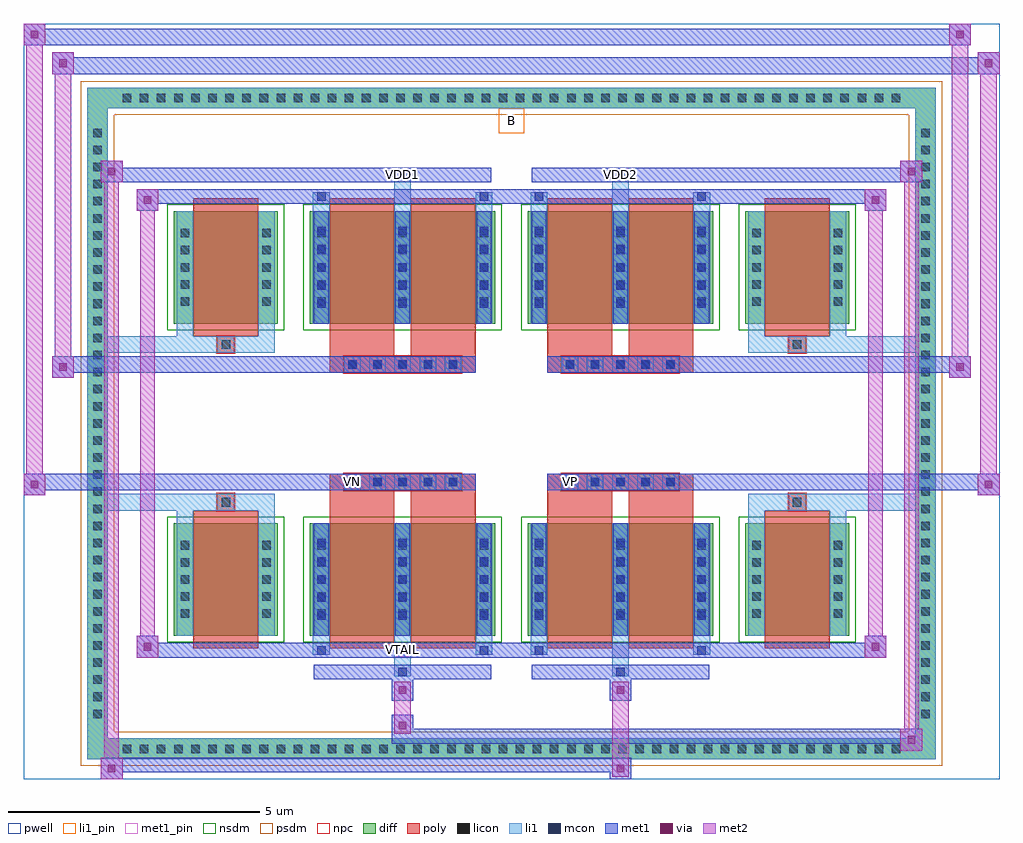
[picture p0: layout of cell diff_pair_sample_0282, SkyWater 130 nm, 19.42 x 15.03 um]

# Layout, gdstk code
import gdstk
lib = gdstk.Library(unit=1e-6, precision=5e-09)
def R(c, l, rs):  # rectangles x0, y0, x1, y1
    for r in rs: c.add(gdstk.rectangle(r[:2], r[2:], *l))
def A(c, l, x, y, w, h, nx, ny, dx, dy):  # array of equal rectangles
    R(c, l, [(x+i*dx, y+j*dy, x+i*dx+w, y+j*dy+h) for i in range(nx) for j in range(ny)])
def P(c, l, *ps):  # polygons
    for p in ps: c.add(gdstk.Polygon(p, *l))
pwell = (64, 44)
diff = (65, 20)
poly = (66, 20)
licon = (66, 44)
li1_pin = (67, 16)
li1 = (67, 20)
mcon = (67, 44)
met1_pin = (68, 16)
met1 = (68, 20)
via = (68, 44)
met2 = (69, 20)
nsdm = (93, 44)
psdm = (94, 20)
npc = (95, 20)

diff_pair_sample_0282 = lib.new_cell('diff_pair_sample_0282')
R(diff_pair_sample_0282, pwell, [(-9.71,-7.08,9.71,7.95), (-7.03,-5.27,-0.01,-0.805), (0.01,-5.27,7.03,-0.805), (-7.03,0.805,-0.01,5.27), (0.01,0.805,7.03,5.27)])
A(diff_pair_sample_0282, diff, -7.855, -6.68, 0.41, 0.41, 46, 2, 0.34, 12.95)
A(diff_pair_sample_0282, diff, -8.44, -5.985, 0.41, 0.41, 1, 35, 0, 0.34)
A(diff_pair_sample_0282, diff, 8.03, -5.985, 0.41, 0.41, 1, 35, 0, 0.34)
R(diff_pair_sample_0282, diff, [(-7.855,-6.68,7.855,-6.27), (-8.44,-5.985,-8.03,5.985), (8.03,-5.985,8.44,5.985), (-6.72,-4.225,-4.65,-1.985), (-4.01,-4.225,-0.32,-1.985), (0.32,-4.225,4.01,-1.985), (4.65,-4.225,6.72,-1.985), (-6.72,1.985,-4.65,4.225), (-4.01,1.985,-0.32,4.225), (0.32,1.985,4.01,4.225), (4.65,1.985,6.72,4.225), (-7.855,6.27,7.855,6.68)])
P(diff_pair_sample_0282, diff, [(8.44,6.68),(-8.44,6.68),(-8.44,-6.27),(-8.03,-6.27),(-8.03,6.27),(8.03,6.27),(8.03,-6.27),(-8.03,-6.27),(-8.44,-6.27),(-8.44,-6.68),(8.44,-6.68)])
A(diff_pair_sample_0282, poly, -3.33, -1.335, 0.33, 0.33, 5, 2, 0.5, 2.34)
A(diff_pair_sample_0282, poly, 1, -1.335, 0.33, 0.33, 5, 2, 0.5, 2.34)
R(diff_pair_sample_0282, poly, [(-6.33,-4.475,-5.04,-1.735), (-3.62,-4.475,-2.33,-1.735), (-2,-4.475,-0.71,-1.735), (0.71,-4.475,2,-1.735), (2.33,-4.475,3.62,-1.735), (5.04,-4.475,6.33,-1.735), (-5.85,-1.735,-5.52,-1.405), (-5.85,-1.735,-5.52,-1.405), (-3.62,-1.735,-2.33,-1.335), (-2,-1.735,-0.71,-1.335), (0.71,-1.735,2,-1.335), (2.33,-1.735,3.62,-1.335), (5.52,-1.735,5.85,-1.405), (5.52,-1.735,5.85,-1.405), (-3.62,-1.335,-0.71,-1.005), (0.71,-1.335,3.62,-1.005), (-3.62,1.005,-0.71,1.335), (0.71,1.005,3.62,1.335), (-3.62,1.335,-2.33,1.735), (-2,1.335,-0.71,1.735), (0.71,1.335,2,1.735), (2.33,1.335,3.62,1.735), (-5.85,1.405,-5.52,1.735), (-5.85,1.405,-5.52,1.735), (5.52,1.405,5.85,1.735), (5.52,1.405,5.85,1.735), (-6.33,1.735,-5.04,4.475), (-3.62,1.735,-2.33,4.475), (-2,1.735,-0.71,4.475), (0.71,1.735,2,4.475), (2.33,1.735,3.62,4.475), (5.04,1.735,6.33,4.475)])
A(diff_pair_sample_0282, licon, -7.735, -6.56, 0.17, 0.17, 46, 2, 0.34, 12.95)
A(diff_pair_sample_0282, licon, -8.32, -5.865, 0.17, 0.17, 1, 35, 0, 0.34)
A(diff_pair_sample_0282, licon, 8.15, -5.865, 0.17, 0.17, 1, 35, 0, 0.34)
A(diff_pair_sample_0282, licon, -6.58, -3.87, 0.17, 0.17, 1, 5, 0, 0.34)
A(diff_pair_sample_0282, licon, -4.96, -3.87, 0.17, 0.17, 1, 5, 0, 0.34)
A(diff_pair_sample_0282, licon, -3.87, -3.87, 0.17, 0.17, 3, 5, 1.62, 0.34)
A(diff_pair_sample_0282, licon, 0.46, -3.87, 0.17, 0.17, 3, 5, 1.62, 0.34)
A(diff_pair_sample_0282, licon, 4.79, -3.87, 0.17, 0.17, 1, 5, 0, 0.34)
A(diff_pair_sample_0282, licon, 6.41, -3.87, 0.17, 0.17, 1, 5, 0, 0.34)
A(diff_pair_sample_0282, licon, -3.25, -1.255, 0.17, 0.17, 5, 2, 0.5, 2.34)
A(diff_pair_sample_0282, licon, 1.08, -1.255, 0.17, 0.17, 5, 2, 0.5, 2.34)
A(diff_pair_sample_0282, licon, -6.58, 2.34, 0.17, 0.17, 1, 5, 0, 0.34)
A(diff_pair_sample_0282, licon, -4.96, 2.34, 0.17, 0.17, 1, 5, 0, 0.34)
A(diff_pair_sample_0282, licon, -3.87, 2.34, 0.17, 0.17, 3, 5, 1.62, 0.34)
A(diff_pair_sample_0282, licon, 0.46, 2.34, 0.17, 0.17, 3, 5, 1.62, 0.34)
A(diff_pair_sample_0282, licon, 4.79, 2.34, 0.17, 0.17, 1, 5, 0, 0.34)
A(diff_pair_sample_0282, licon, 6.41, 2.34, 0.17, 0.17, 1, 5, 0, 0.34)
R(diff_pair_sample_0282, licon, [(-5.77,-1.655,-5.6,-1.485), (5.6,-1.655,5.77,-1.485), (-5.77,1.485,-5.6,1.655), (5.6,1.485,5.77,1.655)])
R(diff_pair_sample_0282, li1_pin, [(-0.25,5.77,0.25,6.27)])
A(diff_pair_sample_0282, li1, -7.815, -6.64, 0.33, 0.33, 46, 2, 0.34, 12.95)
A(diff_pair_sample_0282, li1, -8.4, -5.945, 0.33, 0.33, 1, 35, 0, 0.34)
A(diff_pair_sample_0282, li1, 8.07, -5.945, 0.33, 0.33, 1, 35, 0, 0.34)
A(diff_pair_sample_0282, li1, -3.95, -4.225, 0.33, 2.24, 3, 2, 1.62, 6.21)
A(diff_pair_sample_0282, li1, 0.38, -4.225, 0.33, 2.24, 3, 2, 1.62, 6.21)
A(diff_pair_sample_0282, li1, -6.66, -3.95, 0.33, 0.33, 1, 5, 0, 0.34)
A(diff_pair_sample_0282, li1, -5.04, -3.95, 0.33, 0.33, 1, 5, 0, 0.34)
A(diff_pair_sample_0282, li1, -3.95, -3.95, 0.33, 0.33, 3, 5, 1.62, 0.34)
A(diff_pair_sample_0282, li1, 0.38, -3.95, 0.33, 0.33, 3, 5, 1.62, 0.34)
A(diff_pair_sample_0282, li1, 4.71, -3.95, 0.33, 0.33, 1, 5, 0, 0.34)
A(diff_pair_sample_0282, li1, 6.33, -3.95, 0.33, 0.33, 1, 5, 0, 0.34)
A(diff_pair_sample_0282, li1, -3.87, -3.91, 0.17, 0.17, 3, 5, 1.62, 0.36)
A(diff_pair_sample_0282, li1, -3.87, -3.91, 0.17, 1.61, 3, 2, 1.62, 6.21)
A(diff_pair_sample_0282, li1, 0.46, -3.91, 0.17, 0.17, 3, 5, 1.62, 0.36)
A(diff_pair_sample_0282, li1, 0.46, -3.91, 0.17, 1.61, 3, 2, 1.62, 6.21)
A(diff_pair_sample_0282, li1, -3.33, -1.335, 0.33, 0.33, 5, 2, 0.5, 2.34)
A(diff_pair_sample_0282, li1, 1, -1.335, 0.33, 0.33, 5, 2, 0.5, 2.34)
A(diff_pair_sample_0282, li1, -6.66, 2.26, 0.33, 0.33, 1, 5, 0, 0.34)
A(diff_pair_sample_0282, li1, -5.04, 2.26, 0.33, 0.33, 1, 5, 0, 0.34)
A(diff_pair_sample_0282, li1, -3.95, 2.26, 0.33, 0.33, 3, 5, 1.62, 0.34)
A(diff_pair_sample_0282, li1, 0.38, 2.26, 0.33, 0.33, 3, 5, 1.62, 0.34)
A(diff_pair_sample_0282, li1, 4.71, 2.26, 0.33, 0.33, 1, 5, 0, 0.34)
A(diff_pair_sample_0282, li1, 6.33, 2.26, 0.33, 0.33, 1, 5, 0, 0.34)
A(diff_pair_sample_0282, li1, -3.87, 2.3, 0.17, 0.17, 3, 5, 1.62, 0.36)
A(diff_pair_sample_0282, li1, 0.46, 2.3, 0.17, 0.17, 3, 5, 1.62, 0.36)
R(diff_pair_sample_0282, li1, [(-8.44,-6.68,-8.03,-6.27), (-8.44,-6.68,-8.03,-6.27), (-8.03,-6.68,8.03,-6.27), (8.03,-6.68,8.44,-6.27), (8.03,-6.68,8.44,-6.27), (-8.44,-6.27,-8.03,6.27), (8.03,-6.27,8.44,6.27), (-2.33,-5.03,-2,-4.225), (-2.25,-5.03,-2.08,-4.86), (2,-5.03,2.33,-4.225), (2.08,-5.03,2.25,-4.86), (-3.95,-4.6,-3.62,-4.225), (-3.87,-4.6,-3.7,-4.43), (-0.71,-4.6,-0.38,-4.225), (-0.63,-4.6,-0.46,-4.43), (0.38,-4.6,0.71,-4.225), (0.46,-4.6,0.63,-4.43), (3.62,-4.6,3.95,-4.225), (3.7,-4.6,3.87,-4.43), (-6.66,-4.225,-6.33,-1.985), (-5.04,-4.225,-4.71,-1.985), (4.71,-4.225,5.04,-1.985), (6.33,-4.225,6.66,-1.985), (-6.66,-1.985,-6.33,-1.405), (-5.04,-1.985,-4.71,-1.405), (4.71,-1.985,5.04,-1.405), (6.33,-1.985,6.66,-1.405), (-8.44,-1.735,-5.85,-1.405), (-6.66,-1.735,-5.85,-1.405), (-5.85,-1.735,-5.52,-1.405), (-5.52,-1.735,-4.71,-1.405), (4.71,-1.735,5.52,-1.405), (5.52,-1.735,5.85,-1.405), (5.52,-1.735,8.44,-1.405), (5.85,-1.735,6.66,-1.405), (-8.44,1.405,-5.85,1.735), (-6.66,1.405,-5.85,1.735), (-6.66,1.405,-6.33,1.985), (-5.85,1.405,-5.52,1.735), (-5.52,1.405,-4.71,1.735), (-5.04,1.405,-4.71,1.985), (4.71,1.405,5.52,1.735), (4.71,1.405,5.04,1.985), (5.52,1.405,5.85,1.735), (5.52,1.405,8.44,1.735), (5.85,1.405,6.66,1.735), (6.33,1.405,6.66,1.985), (-6.66,1.985,-6.33,4.225), (-5.04,1.985,-4.71,4.225), (4.71,1.985,5.04,4.225), (6.33,1.985,6.66,4.225), (-3.95,4.225,-3.62,4.6), (-2.33,4.225,-2,5.03), (-0.71,4.225,-0.38,4.6), (0.38,4.225,0.71,4.6), (2,4.225,2.33,5.03), (3.62,4.225,3.95,4.6), (-3.87,4.43,-3.7,4.6), (-0.63,4.43,-0.46,4.6), (0.46,4.43,0.63,4.6), (3.7,4.43,3.87,4.6), (-2.25,4.86,-2.08,5.03), (2.08,4.86,2.25,5.03), (-8.44,6.27,-8.03,6.68), (-8.44,6.27,-8.03,6.68), (-8.03,6.27,8.03,6.68), (8.03,6.27,8.44,6.68), (8.03,6.27,8.44,6.68)])
A(diff_pair_sample_0282, mcon, -3.87, -3.91, 0.17, 0.17, 3, 5, 1.62, 0.36)
A(diff_pair_sample_0282, mcon, 0.46, -3.91, 0.17, 0.17, 3, 5, 1.62, 0.36)
A(diff_pair_sample_0282, mcon, -3.25, -1.255, 0.17, 0.17, 5, 2, 0.5, 2.34)
A(diff_pair_sample_0282, mcon, 1.08, -1.255, 0.17, 0.17, 5, 2, 0.5, 2.34)
A(diff_pair_sample_0282, mcon, -3.87, 2.3, 0.17, 0.17, 3, 5, 1.62, 0.36)
A(diff_pair_sample_0282, mcon, 0.46, 2.3, 0.17, 0.17, 3, 5, 1.62, 0.36)
R(diff_pair_sample_0282, mcon, [(-2.25,-5.03,-2.08,-4.86), (2.08,-5.03,2.25,-4.86), (-3.87,-4.6,-3.7,-4.43), (-0.63,-4.6,-0.46,-4.43), (0.46,-4.6,0.63,-4.43), (3.7,-4.6,3.87,-4.43), (-3.87,4.43,-3.7,4.6), (-0.63,4.43,-0.46,4.6), (0.46,4.43,0.63,4.6), (3.7,4.43,3.87,4.6), (-2.25,4.86,-2.08,5.03), (2.08,4.86,2.25,5.03)])
R(diff_pair_sample_0282, met1_pin, [(-2.3,-4.64,-2.03,-4.37), (-3.3,-1.295,-3.03,-1.025), (1.03,-1.295,1.3,-1.025), (-2.3,4.82,-2.03,5.09), (2.03,4.82,2.3,5.09)])
A(diff_pair_sample_0282, met1, -3.93, -4.225, 0.29, 2.24, 3, 2, 1.62, 6.21)
A(diff_pair_sample_0282, met1, 0.4, -4.225, 0.29, 2.24, 3, 2, 1.62, 6.21)
A(diff_pair_sample_0282, met1, -3.93, -3.97, 0.29, 0.29, 3, 5, 1.62, 0.36)
A(diff_pair_sample_0282, met1, 0.4, -3.97, 0.29, 0.29, 3, 5, 1.62, 0.36)
A(diff_pair_sample_0282, met1, -3.31, -1.315, 0.29, 0.29, 5, 2, 0.5, 2.34)
A(diff_pair_sample_0282, met1, 1.02, -1.315, 0.29, 0.29, 5, 2, 0.5, 2.34)
A(diff_pair_sample_0282, met1, -3.93, 2.24, 0.29, 0.29, 3, 5, 1.62, 0.36)
A(diff_pair_sample_0282, met1, 0.4, 2.24, 0.29, 0.29, 3, 5, 1.62, 0.36)
R(diff_pair_sample_0282, met1, [(-8.17,-7.08,-7.74,-6.65), (1.95,-7.08,2.38,-6.65), (-8.17,-6.94,2.38,-6.65), (7.74,-6.51,8.17,-6.08), (-2.38,-6.37,8.17,-6.08), (-2.38,-6.23,-1.95,-5.8), (-2.38,-5.52,-1.95,-5.09), (1.95,-5.52,2.38,-5.09), (-3.93,-5.09,-0.4,-4.8), (-2.31,-5.09,-2.02,-4.8), (0.4,-5.09,3.93,-4.8), (2.02,-5.09,2.31,-4.8), (-7.46,-4.66,-3.93,-4.37), (-7.46,-4.66,-7.03,-4.23), (-3.93,-4.66,-3.64,-4.37), (-3.93,-4.66,-0.4,-4.37), (-0.69,-4.66,-0.4,-4.37), (-0.4,-4.66,0.4,-4.37), (0.4,-4.66,0.69,-4.37), (0.4,-4.66,3.93,-4.37), (3.64,-4.66,3.93,-4.37), (3.93,-4.66,7.46,-4.37), (7.03,-4.66,7.46,-4.23), (-9.71,-1.435,-9.28,-1.005), (9.28,-1.435,9.71,-1.005), (-9.71,-1.335,-0.71,-1.005), (-3.62,-1.335,-0.71,-1.005), (0.71,-1.335,3.62,-1.005), (0.71,-1.335,9.71,-1.005), (-9.14,0.905,-8.71,1.335), (8.71,0.905,9.14,1.335), (-9.14,1.005,-3.62,1.335), (-3.62,1.005,-0.71,1.335), (0.71,1.005,3.62,1.335), (3.62,1.005,9.14,1.335), (-7.46,4.23,-7.03,4.66), (7.03,4.23,7.46,4.66), (-7.46,4.37,-3.93,4.66), (-3.93,4.37,-3.64,4.66), (-3.93,4.37,-0.4,4.66), (-0.69,4.37,-0.4,4.66), (-0.4,4.37,0.4,4.66), (0.4,4.37,0.69,4.66), (0.4,4.37,3.93,4.66), (3.64,4.37,3.93,4.66), (3.93,4.37,7.46,4.66), (-8.17,4.8,-7.74,5.23), (-8.17,4.8,-3.93,5.09), (-3.93,4.8,-0.4,5.09), (-2.31,4.8,-2.02,5.09), (0.4,4.8,3.93,5.09), (2.02,4.8,2.31,5.09), (3.93,4.8,8.17,5.09), (7.74,4.8,8.17,5.23), (-9.14,6.95,-8.71,7.38), (-9.14,6.95,-7.03,7.28), (-7.03,6.95,7.03,7.28), (7.03,6.95,9.71,7.28), (9.28,6.95,9.71,7.38), (-9.71,7.52,-9.28,7.95), (-9.71,7.52,-7.03,7.85), (-7.03,7.52,7.03,7.85), (7.03,7.52,9.14,7.85), (8.71,7.52,9.14,7.95)])
R(diff_pair_sample_0282, via, [(-8.03,-6.94,-7.88,-6.79), (2.09,-6.94,2.24,-6.79), (7.88,-6.37,8.03,-6.22), (-2.24,-6.09,-2.09,-5.94), (-2.24,-5.38,-2.09,-5.23), (2.09,-5.38,2.24,-5.23), (-7.32,-4.52,-7.17,-4.37), (7.17,-4.52,7.32,-4.37), (-9.57,-1.295,-9.42,-1.145), (9.42,-1.295,9.57,-1.145), (-9,1.045,-8.85,1.195), (8.85,1.045,9,1.195), (-7.32,4.37,-7.17,4.52), (7.17,4.37,7.32,4.52), (-8.03,4.94,-7.88,5.09), (7.88,4.94,8.03,5.09), (-9,7.09,-8.85,7.24), (9.42,7.09,9.57,7.24), (-9.57,7.66,-9.42,7.81), (8.85,7.66,9,7.81)])
R(diff_pair_sample_0282, met2, [(-8.17,-7.08,-7.74,-6.65), (-8.1,-7.08,-7.81,5.23), (-7.81,-7.08,-7.74,-6.65), (-8.12,-7.03,-7.79,-6.7), (2,-7.03,2.33,-6.7), (2,-6.7,2.33,-5.47), (7.74,-6.51,8.17,-6.08), (7.81,-6.51,8.1,5.23), (8.1,-6.51,8.17,-6.08), (7.79,-6.46,8.12,-6.13), (-2.33,-6.18,-2,-5.85), (-2.33,-5.85,-2,-5.47), (-2.33,-5.47,-2,-5.14), (2,-5.47,2.33,-5.14), (-7.46,-4.66,-7.03,-4.23), (-7.39,-4.66,-7.1,4.66), (-7.1,-4.66,-7.03,-4.23), (7.03,-4.66,7.46,-4.23), (7.1,-4.66,7.39,4.66), (7.39,-4.66,7.46,-4.23), (-7.41,-4.61,-7.08,-4.28), (7.08,-4.61,7.41,-4.28), (-9.71,-1.435,-9.28,-1.005), (-9.66,-1.435,-9.33,7.95), (-9.33,-1.435,-9.28,-1.005), (9.28,-1.435,9.71,-1.005), (9.33,-1.435,9.66,7.38), (9.66,-1.435,9.71,-1.005), (-9.66,-1.385,-9.33,-1.055), (9.33,-1.385,9.66,-1.055), (-9.14,0.905,-8.71,1.335), (-9.09,0.905,-8.76,7.38), (-8.76,0.905,-8.71,1.335), (8.71,0.905,9.14,1.335), (8.76,0.905,9.09,7.95), (9.09,0.905,9.14,1.335), (-9.09,0.955,-8.76,1.285), (8.76,0.955,9.09,1.285), (-7.46,4.23,-7.03,4.66), (-7.1,4.23,-7.03,4.66), (7.03,4.23,7.46,4.66), (7.39,4.23,7.46,4.66), (-7.41,4.28,-7.08,4.61), (7.08,4.28,7.41,4.61), (-8.17,4.8,-7.74,5.23), (-7.81,4.8,-7.74,5.23), (7.74,4.8,8.17,5.23), (8.1,4.8,8.17,5.23), (-8.12,4.85,-7.79,5.18), (7.79,4.85,8.12,5.18), (-9.14,6.95,-8.71,7.38), (-8.76,6.95,-8.71,7.38), (9.28,6.95,9.71,7.38), (9.66,6.95,9.71,7.38), (-9.09,7,-8.76,7.33), (9.33,7,9.66,7.33), (-9.71,7.52,-9.28,7.95), (-9.33,7.52,-9.28,7.95), (8.71,7.52,9.14,7.95), (9.09,7.52,9.14,7.95), (-9.66,7.57,-9.33,7.9), (8.76,7.57,9.09,7.9)])
R(diff_pair_sample_0282, nsdm, [(-6.85,-4.355,-4.52,-1.855), (-4.14,-4.355,-0.19,-1.855), (0.19,-4.355,4.14,-1.855), (4.52,-4.355,6.85,-1.855), (-6.85,1.855,-4.52,4.355), (-4.14,1.855,-0.19,4.355), (0.19,1.855,4.14,4.355), (4.52,1.855,6.85,4.355)])
P(diff_pair_sample_0282, psdm, [(8.57,6.81),(-8.57,6.81),(-8.57,-6.14),(-7.9,-6.14),(-7.9,6.14),(7.9,6.14),(7.9,-6.14),(-7.9,-6.14),(-8.57,-6.14),(-8.57,-6.81),(8.57,-6.81)])
A(diff_pair_sample_0282, npc, -3.35, -1.355, 0.37, 0.37, 5, 2, 0.5, 2.34)
A(diff_pair_sample_0282, npc, 0.98, -1.355, 0.37, 0.37, 5, 2, 0.5, 2.34)
R(diff_pair_sample_0282, npc, [(-5.87,-1.755,-5.5,-1.385), (5.5,-1.755,5.87,-1.385), (-3.35,-1.355,-2.48,-0.985), (-3.35,-1.355,-2.48,-0.985), (-2.85,-1.355,-1.98,-0.985), (-2.85,-1.355,-1.98,-0.985), (-2.35,-1.355,-1.48,-0.985), (-2.35,-1.355,-1.48,-0.985), (-1.85,-1.355,-0.98,-0.985), (-1.85,-1.355,-0.98,-0.985), (0.98,-1.355,1.85,-0.985), (0.98,-1.355,1.85,-0.985), (1.48,-1.355,2.35,-0.985), (1.48,-1.355,2.35,-0.985), (1.98,-1.355,2.85,-0.985), (1.98,-1.355,2.85,-0.985), (2.48,-1.355,3.35,-0.985), (2.48,-1.355,3.35,-0.985), (-3.35,0.985,-2.48,1.355), (-3.35,0.985,-2.48,1.355), (-2.85,0.985,-1.98,1.355), (-2.85,0.985,-1.98,1.355), (-2.35,0.985,-1.48,1.355), (-2.35,0.985,-1.48,1.355), (-1.85,0.985,-0.98,1.355), (-1.85,0.985,-0.98,1.355), (0.98,0.985,1.85,1.355), (0.98,0.985,1.85,1.355), (1.48,0.985,2.35,1.355), (1.48,0.985,2.35,1.355), (1.98,0.985,2.85,1.355), (1.98,0.985,2.85,1.355), (2.48,0.985,3.35,1.355), (2.48,0.985,3.35,1.355), (-5.87,1.385,-5.5,1.755), (5.5,1.385,5.87,1.755)])
diff_pair_sample_0282.add(gdstk.Label('VTAIL', (-2.165,-4.505), layer=68, texttype=5))
diff_pair_sample_0282.add(gdstk.Label('VN', (-3.165,-1.16), layer=68, texttype=5))
diff_pair_sample_0282.add(gdstk.Label('VP', (1.165,-1.16), layer=68, texttype=5))
diff_pair_sample_0282.add(gdstk.Label('B', (0,6.02), layer=67, texttype=5))
diff_pair_sample_0282.add(gdstk.Label('VDD2', (2.165,4.955), layer=68, texttype=5))
diff_pair_sample_0282.add(gdstk.Label('VDD1', (-2.165,4.955), layer=68, texttype=5))

lib.write_gds('diff_pair_sample_0282.gds')
